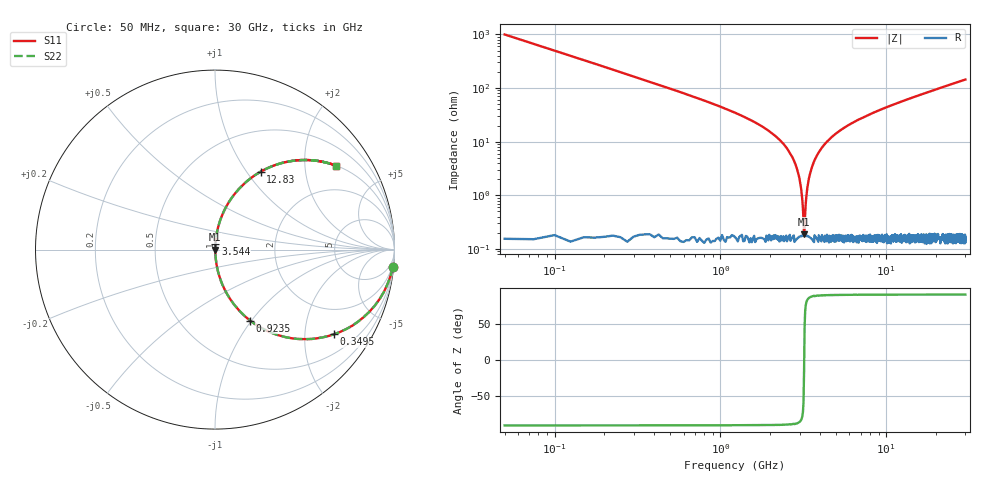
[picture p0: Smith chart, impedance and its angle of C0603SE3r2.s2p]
!	AVX Thin Film Operation 	Date: April 2014
!	Description: Accu-P® Series, Thin Film  SMD RF Capacitor
!	Part Number: 06031J3R2ABSTR
# MHZ S MA R 50
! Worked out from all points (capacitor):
!   1201 points, 50 MHz to 30 GHz, reference 50 ohm
!   read as one part in series: C = 3.2 pF near 199.8 MHz
!   lowest |Z| = 187 mohm at 3.195 GHz (marker M1)
!   series resonance near 3.2 GHz, so ESL is about 770 pH
!   S11 on the Smith chart (normalised r, x): 50 MHz: 1, -20; 349.5 MHz: 1.01, -2.81; 923.5 MHz: 1.00, -0.99; 3.544 GHz: 1.00, +0.06; 12.83 GHz: 1.00, +1.17; 30 GHz: 1.00, +2.88
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50  0.995 -5.7  0.1 84.2  0.1 84.2  0.995 -5.7
249.667  0.892 -26.8  0.451 63.2  0.451 63.2  0.892 -26.8
349.5  0.814 -35.4  0.579 54.5  0.579 54.5  0.814 -35.4
624.042  0.608 -52.4  0.793 37.4  0.793 37.4  0.608 -52.4
923.542  0.442 -63.6  0.896 26.2  0.896 26.2  0.442 -63.6
1522.542  0.245 -75.5  0.968 14.2  0.968 14.2  0.245 -75.5
2595.75  0.065 -84.9  0.996 3.7  0.996 3.7  0.065 -84.9
2895.25  0.031 -85.3  0.998 1.8  0.998 1.8  0.031 -85.3
3094.917  0.01 -80.7  0.998 0.6  0.998 0.6  0.01 -80.7
3194.75  0.001669 -17.9  0.998 0.0  0.998 0.0  0.001669 -17.9
3294.583  0.009176 79.5  0.998 -0.5  0.998 -0.5  0.009176 79.5
3419.375  0.021 84.4  0.998 -1.2  0.998 -1.2  0.021 84.4
3544.167  0.032 85.3  0.998 -1.8  0.998 -1.8  0.032 85.3
4068.292  0.075 84.5  0.996 -4.3  0.996 -4.3  0.075 84.5
5041.667  0.144 81.1  0.988 -8.3  0.988 -8.3  0.144 81.1
6988.417  0.259 74.7  0.964 -15.0  0.964 -15.0  0.259 74.7
10058.29  0.401 66.1  0.914 -23.7  0.914 -23.7  0.401 66.1
12828.67  0.504 59.6  0.862 -30.3  0.862 -30.3  0.504 59.6
15025  0.571 55.0  0.82 -34.8  0.82 -34.8  0.571 55.0
20016.67  0.687 46.5  0.725 -43.4  0.725 -43.4  0.687 46.5
25033.29  0.767 39.9  0.641 -50.1  0.641 -50.1  0.767 39.9
30000  0.821 34.7  0.57 -55.2  0.57 -55.2  0.821 34.7
